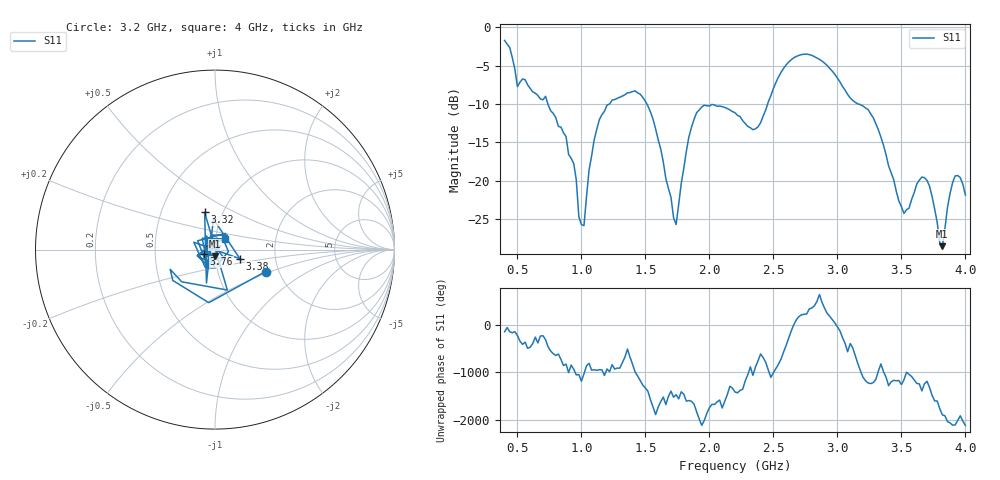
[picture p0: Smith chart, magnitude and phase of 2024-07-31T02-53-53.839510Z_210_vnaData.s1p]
!Created with skrf (http://scikit-rf.org).
# Hz S RI R 50.0
!freq ReS11 ImS11
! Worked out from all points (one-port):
!   181 points, 400 MHz to 4 GHz, reference 50 ohm
!   lowest |S11| = -28.5 dB at 3.82 GHz (marker M1), VSWR 1.08, Z = 49.8 - j3.76 ohm
!   |S11| at or under -10 dB: 738.2 MHz to 1.22 GHz (481.7 MHz wide, 49.2 % of centre); 1.511 GHz to 2.455 GHz (943.5 MHz wide, 47.6 % of centre); 3.163 GHz to end of sweep
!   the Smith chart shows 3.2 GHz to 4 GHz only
!   S11 on the Smith chart (normalised r, x): 3.2 GHz: 1.71, -0.46; 3.32 GHz: 0.82, +0.36; 3.38 GHz: 1.32, -0.14; 3.76 GHz: 0.88, -0.04; 4 GHz: 1.11, +0.13
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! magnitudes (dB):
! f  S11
! 400 MHz  -1.7
! 500 MHz  -7.7
! 720 MHz  -9.0
! 860 MHz  -13.7
! 940 MHz  -17.7
! 1.02 GHz  -25.8
! 1.06 GHz  -18.6
! 1.14 GHz  -12.0
! 1.3 GHz  -9.1
! 1.5 GHz  -9.6
! 1.72 GHz  -24.8
! 1.76 GHz  -23.1
! 1.9 GHz  -11.1
! 2.2 GHz  -11.1
! 2.38 GHz  -13.0
! 2.66 GHz  -4.0
! 2.88 GHz  -4.4
! 3.1 GHz  -9.2
! 3.2 GHz  -10.3
! 3.32 GHz  -13.3
! 3.38 GHz  -16.6
! 3.52 GHz  -24.2
! 3.56 GHz  -23.5
! 3.66 GHz  -19.5
! 3.76 GHz  -23.7
! 3.82 GHz  -28.5
! 3.92 GHz  -19.3
! 4 GHz  -21.8
